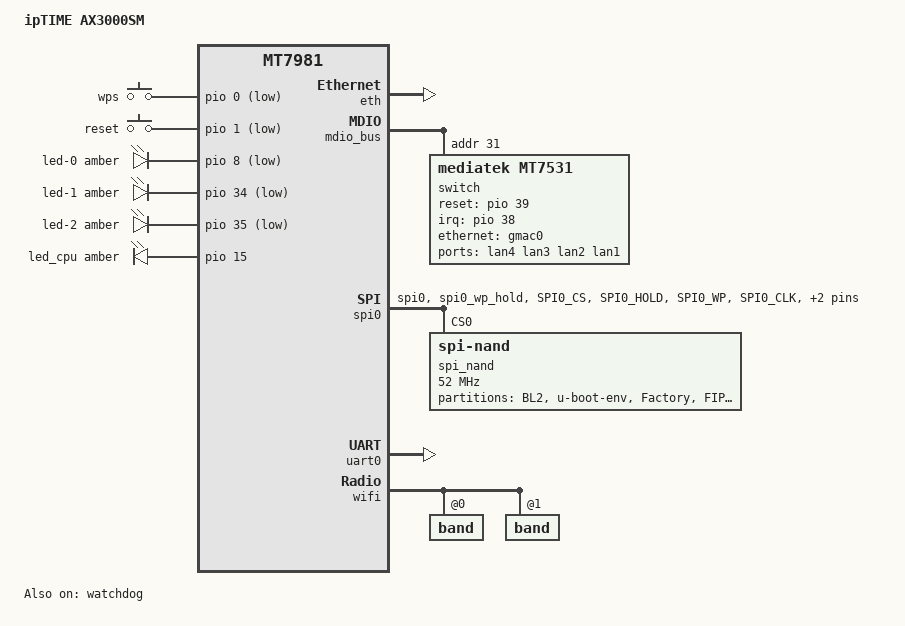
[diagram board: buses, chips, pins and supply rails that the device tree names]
// SPDX-License-Identifier: GPL-2.0-only OR MIT

/dts-v1/;
#include <dt-bindings/gpio/gpio.h>
#include <dt-bindings/input/input.h>
#include <dt-bindings/leds/common.h>

#include "mt7981.dtsi"

/ {
	model = "ipTIME AX3000SM";
	compatible = "iptime,ax3000sm", "mediatek,mt7981";

	aliases {
		serial0 = &uart0;
		label-mac-device = &gmac1;
		led-boot = &led_cpu;
		led-failsafe = &led_cpu;
		led-running = &led_cpu;
		led-upgrade = &led_cpu;
	};

	chosen {
		stdout-path = "serial0:115200n8";
	};

	gpio-keys {
		compatible = "gpio-keys";

		button-0 {
			label = "wps";
			gpios = <&pio 0 GPIO_ACTIVE_LOW>;
			linux,code = <KEY_WPS_BUTTON>;
			debounce-interval = <60>;
		};

		button-1 {
			label = "reset";
			gpios = <&pio 1 GPIO_ACTIVE_LOW>;
			linux,code = <KEY_RESTART>;
			debounce-interval = <60>;
		};
	};

	leds {
		compatible = "gpio-leds";

		led-0 {
			color = <LED_COLOR_ID_AMBER>;
			function = LED_FUNCTION_WAN;
			gpios = <&pio 8 GPIO_ACTIVE_LOW>;
		};

		led-1 {
			color = <LED_COLOR_ID_AMBER>;
			function = LED_FUNCTION_WLAN_2GHZ;
			gpios = <&pio 34 GPIO_ACTIVE_LOW>;
			linux,default-trigger = "phy0tpt";
		};

		led-2 {
			color = <LED_COLOR_ID_AMBER>;
			function = LED_FUNCTION_WLAN_5GHZ;
			gpios = <&pio 35 GPIO_ACTIVE_LOW>;
			linux,default-trigger = "phy1tpt";
		};

		led_cpu: led-3 {
			color = <LED_COLOR_ID_AMBER>;
			function = LED_FUNCTION_CPU;
			gpios = <&pio 15 GPIO_ACTIVE_HIGH>;
		};
	};
};

&eth {
	status = "okay";

	gmac0: mac@0 {
		compatible = "mediatek,eth-mac";
		reg = <0>;
		phy-mode = "2500base-x";

		nvmem-cell-names = "mac-address";
		nvmem-cells = <&macaddr_factory_4 (3)>;

		fixed-link {
			speed = <2500>;
			full-duplex;
			pause;
		};
	};

	gmac1: mac@1 {
		compatible = "mediatek,eth-mac";
		reg = <1>;
		phy-mode = "gmii";
		phy-handle = <&int_gbe_phy>;

		nvmem-cell-names = "mac-address";
		nvmem-cells = <&macaddr_factory_4 (1)>;
	};
};

&mdio_bus {
	switch: switch@1f {
		compatible = "mediatek,mt7531";
		reg = <0x1f>;
		reset-gpios = <&pio 39 GPIO_ACTIVE_HIGH>;
		interrupt-controller;
		#interrupt-cells = <1>;
		interrupt-parent = <&pio>;
		interrupts = <38 IRQ_TYPE_LEVEL_HIGH>;
	};
};

&spi0 {
	pinctrl-names = "default";
	pinctrl-0 = <&spi0_flash_pins>;
	status = "okay";

	spi_nand@0 {
		#address-cells = <1>;
		#size-cells = <1>;
		compatible = "spi-nand";
		reg = <0>;

		spi-max-frequency = <52000000>;
		spi-tx-buswidth = <4>;
		spi-rx-buswidth = <4>;

		spi-cal-enable;
		spi-cal-mode = "read-data";
		spi-cal-datalen = <7>;
		spi-cal-data = /bits/ 8 <0x53 0x50 0x49 0x4e 0x41 0x4e 0x44>;
		spi-cal-addrlen = <5>;
		spi-cal-addr = /bits/ 32 <0x0 0x0 0x0 0x0 0x0>;

		mediatek,nmbm;
		mediatek,bmt-max-ratio = <1>;
		mediatek,bmt-max-reserved-blocks = <64>;

		partitions {
			compatible = "fixed-partitions";
			#address-cells = <1>;
			#size-cells = <1>;

			partition@0 {
				label = "BL2";
				reg = <0x0 0x100000>;
				read-only;
			};

			partition@100000 {
				label = "u-boot-env";
				reg = <0x100000 0x80000>;
			};

			partition@180000 {
				label = "Factory";
				reg = <0x180000 0x200000>;
				read-only;

				nvmem-layout {
					compatible = "fixed-layout";
					#address-cells = <1>;
					#size-cells = <1>;

					eeprom_factory_0: eeprom@0 {
						reg = <0x0 0x1000>;
					};

					macaddr_factory_4: macaddr@4 {
						compatible = "mac-base";
						reg = <0x4 0x6>;
						#nvmem-cell-cells = <1>;
					};
				};
			};

			partition@380000 {
				label = "FIP";
				reg = <0x380000 0x200000>;
				read-only;
			};

			partition@580000 {
				label = "ubi";
				reg = <0x580000 0x6E00000>;
			};
		};
	};
};

&switch {
	ports {
		#address-cells = <1>;
		#size-cells = <0>;

		port@0 {
			reg = <0>;
			label = "lan4";
		};

		port@1 {
			reg = <1>;
			label = "lan3";
		};

		port@2 {
			reg = <2>;
			label = "lan2";
		};

		port@3 {
			reg = <3>;
			label = "lan1";
		};

		port@6 {
			reg = <6>;
			ethernet = <&gmac0>;
			phy-mode = "2500base-x";

			fixed-link {
				speed = <2500>;
				full-duplex;
				pause;
			};
		};
	};
};

&pio {
	spi0_flash_pins: spi0-pins {
		mux {
			function = "spi";
			groups = "spi0", "spi0_wp_hold";
		};

		conf-pu {
			pins = "SPI0_CS", "SPI0_HOLD", "SPI0_WP";
			drive-strength = <MTK_DRIVE_8mA>;
			bias-pull-up = <MTK_PUPD_SET_R1R0_11>;
		};

		conf-pd {
			pins = "SPI0_CLK", "SPI0_MOSI", "SPI0_MISO";
			drive-strength = <MTK_DRIVE_8mA>;
			bias-pull-down = <MTK_PUPD_SET_R1R0_11>;
		};
	};
};

&uart0 {
	status = "okay";
};

&watchdog {
	status = "okay";
};

&wifi {
	status = "okay";
	nvmem-cell-names = "eeprom";
	nvmem-cells = <&eeprom_factory_0>;

	band@0 {
		reg = <0>;
		nvmem-cells = <&macaddr_factory_4>;
		nvmem-cell-names = "mac-address";
	};

	band@1 {
		reg = <1>;
		nvmem-cells = <&macaddr_factory_4>;
		nvmem-cell-names = "mac-address";
	};
};
